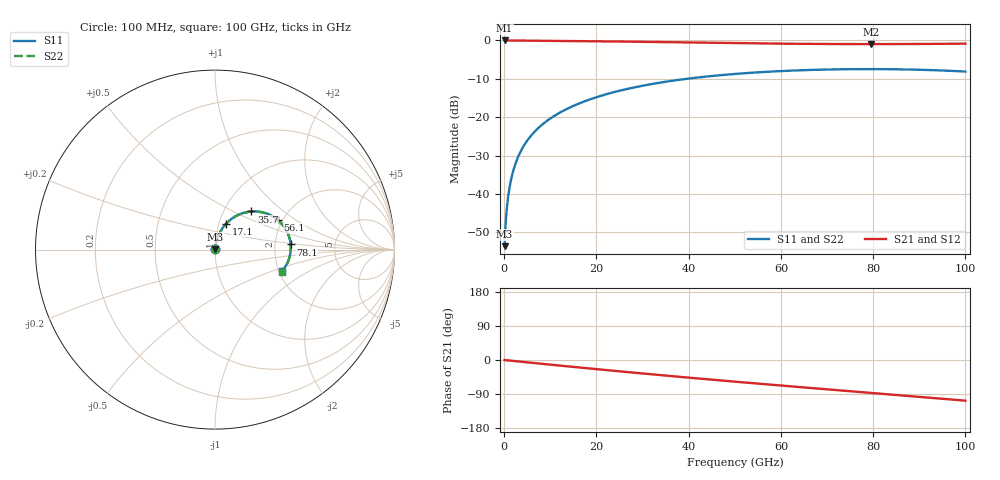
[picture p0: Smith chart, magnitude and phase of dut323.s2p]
! Touchstone file exported from HFSS 2026.1.0
!  File:  C:/ffzhzh/LocalFiles/Ansys_Project_Files/temp_train_RDL_323_1783502741_44152.aedt
!  Generated:  05:26:53 PM Jul  8, 2026
!  Design:  RDL
!  Project:  temp_train_RDL_323_1783502741_44152
! Variables:
!  h_bsmrdl = 2um
!  h_ox = 20um
!  h_rdl = 5um
!  h_sub = 80um
!  h_tmrdl = 3.57um
!  h_tsv = 80um
!  h_via = 3um
!  l_bsmrdl = 300um
!  l_sub = 759.85um
!  l_tmrdl = 359.85um
!  m_sub = 200um
!  pitch = 40.63um
!  r_tsv = 6um
!  s_tmrdl = 10um
!  w_bsmrdl = 18um
!  w_sub = 500um
!  w_tmrdl = 23.91um
!  x_tsv_center1 = 371.805um
!  x_tsv_center2 = 689.805um
!  x_tsv_center3 = 1073.565um
!  x_tsv_center4 = 1391.565um
!  x_tsv_center5 = 1775.325um
!  x_tsv_center6 = 2093.325um
# GHz S MA R 50.000000
! Terminal data exported
! Port[1] = TM_RDL1_1_T1
! Port[2] = TM_RDL1_1_T2
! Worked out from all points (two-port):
!   1000 points, 100 MHz to 100 GHz, reference 50 ohm
!   highest |S21| = -0.01 dB at 100 MHz (marker M1); lowest = -1.0 dB at 79.5 GHz (marker M2)
!   |S21| within 3 dB of the highest: start of sweep to end of sweep
!   lowest |S11| = -53.6 dB at 100 MHz (marker M3), VSWR 1.00, Z = 50.2 + j0.118 ohm
!   |S11| at or under -10 dB: start of sweep to 39.66 GHz
!   |S22| runs from -53.6 to -7.5 dB; largest |S21 - S12| = 1.7e-14
!   S11 on the Smith chart (normalised r, x): 100 MHz: 1.00, +0.00; 17.1 GHz: 1.08, +0.32; 35.7 GHz: 1.34, +0.62; 56.1 GHz: 1.89, +0.74; 78.1 GHz: 2.45, +0.17; 100 GHz: 2.09, -0.58
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0.1  0.002083 34.3  0.9983 -0.1  0.9983 -0.1  0.002083 34.3
! Gamma 0 0 0 0
! Port Impedance 50 0 50 0
0.9  0.009511 75.0  0.9977 -1.1  0.9977 -1.1  0.009511 75.0
1.2  0.01242 77.6  0.9976 -1.5  0.9976 -1.5  0.01242 77.6
1.5  0.01535 79.0  0.9975 -1.9  0.9975 -1.9  0.01535 79.0
2  0.02026 80.3  0.9973 -2.5  0.9973 -2.5  0.02026 80.3
2.6  0.02616 80.8  0.997 -3.3  0.997 -3.3  0.02616 80.8
4.1  0.04079 80.4  0.996 -5.1  0.996 -5.1  0.04079 80.4
6.2  0.06086 78.5  0.9941 -7.7  0.9941 -7.7  0.06086 78.5
9  0.08687 75.6  0.9911 -11.1  0.9911 -11.1  0.08687 75.5
12.5  0.1183 71.8  0.9868 -15.3  0.9868 -15.3  0.1183 71.7
16.8  0.1554 67.0  0.9807 -20.4  0.9807 -20.4  0.1554 66.9
17.1  0.1579 66.7  0.9802 -20.7  0.9802 -20.7  0.1579 66.6
24.4  0.2162 58.7  0.9679 -29.2  0.9679 -29.2  0.2162 58.5
33.4  0.279 48.9  0.9508 -39.3  0.9508 -39.3  0.279 48.7
35.7  0.2933 46.4  0.9464 -41.9  0.9464 -41.9  0.2933 46.2
50.1  0.3657 31.4  0.9203 -57.2  0.9203 -57.2  0.3657 31.1
56.1  0.3871 25.4  0.9115 -63.4  0.9115 -63.4  0.3871 25.1
66.7  0.4126 15.0  0.9002 -74.1  0.9002 -74.1  0.4125 14.6
78.1  0.4227 3.9  0.8952 -85.4  0.8952 -85.4  0.4227 3.4
79.5  0.4228 2.6  0.8951 -86.8  0.8951 -86.8  0.4227 2.1
83.4  0.4215 -1.2  0.8956 -90.6  0.8956 -90.6  0.4214 -1.7
100  0.3926 -17.5  0.9074 -107.3  0.9074 -107.3  0.3925 -18.1
